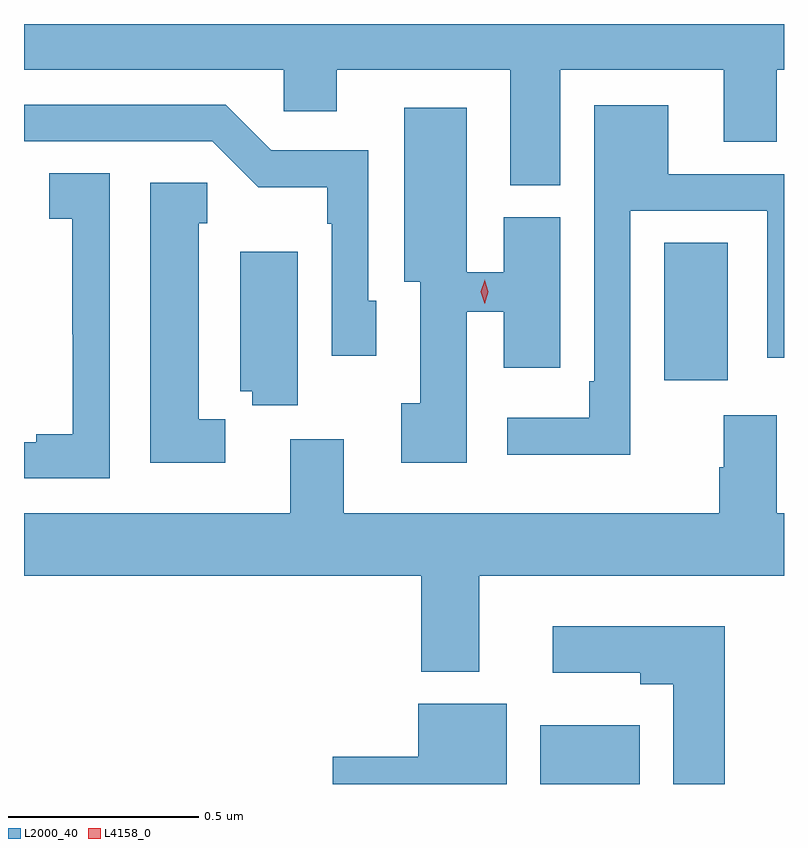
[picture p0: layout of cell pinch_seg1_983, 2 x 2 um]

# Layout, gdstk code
import gdstk
lib = gdstk.Library(unit=1e-6, precision=1e-09)
def R(c, l, rs):  # rectangles x0, y0, x1, y1
    for r in rs: c.add(gdstk.rectangle(r[:2], r[2:], *l))
def P(c, l, *ps):  # polygons
    for p in ps: c.add(gdstk.Polygon(p, *l))
L2000_40 = (2000, 40)
L4158_0 = (4158, 0)

pinch_seg1_983 = lib.new_cell('pinch_seg1_983')
R(pinch_seg1_983, L2000_40, [(143.699,515.22,143.962,515.374), (144.026,516.282,144.193,516.644)])
P(pinch_seg1_983, L2000_40, [(143.752,517.1),(144.182,517.1),(144.182,516.91),(144.322,516.91),(144.322,517.1),(144.341,517.1),(144.341,517.22),(142.341,517.22),(142.341,517.1),(143.025,517.1),(143.025,516.99),(143.164,516.99),(143.164,517.1),(143.621,517.1),(143.621,516.796),(143.752,516.796)],
  [(143.268,516.492),(143.247,516.492),(143.247,516.888),(142.992,516.888),(142.872,517.008),(142.341,517.008),(142.341,516.912),(142.836,516.912),(142.957,516.791),(143.139,516.791),(143.139,516.695),(143.151,516.695),(143.151,516.347),(143.268,516.347)],
  [(143.937,516.729),(144.297,516.729),(144.297,516.342),(144.341,516.342),(144.341,516.825),(144.037,516.825),(144.037,517.006),(143.841,517.006),(143.841,516.28),(143.829,516.28),(143.829,516.184),(143.613,516.184),(143.613,516.086),(143.937,516.086)],
  [(143.506,516.463),(143.603,516.463),(143.603,516.315),(143.752,516.315),(143.752,516.711),(143.603,516.711),(143.603,516.567),(143.506,516.567),(143.506,517),(143.342,517),(143.342,516.542),(143.384,516.542),(143.384,516.222),(143.334,516.222),(143.334,516.066),(143.506,516.066)],
  [(142.566,516.827),(142.407,516.827),(142.407,516.707),(142.468,516.707),(142.468,516.403),(142.469,516.403),(142.469,516.14),(142.373,516.14),(142.373,516.12),(142.341,516.12),(142.341,516.024),(142.566,516.024)],
  [(142.87,516.18),(142.801,516.18),(142.801,516.696),(142.823,516.696),(142.823,516.802),(142.673,516.802),(142.673,516.065),(142.87,516.065)],
  [(143.062,516.621),(142.91,516.621),(142.91,516.254),(142.942,516.254),(142.942,516.217),(143.062,516.217)],
  [(143.539,515.768),(144.341,515.768),(144.341,515.932),(144.322,515.932),(144.322,516.19),(144.182,516.19),(144.182,516.053),(144.17,516.053),(144.17,515.932),(143.182,515.932),(143.182,516.127),(143.042,516.127),(143.042,515.932),(142.341,515.932),(142.341,515.768),(143.387,515.768),(143.387,515.516),(143.539,515.516)],
  [(144.185,515.635),(143.733,515.635),(143.733,515.513),(143.963,515.513),(143.963,515.483),(144.05,515.483),(144.05,515.22),(144.185,515.22)],
  [(143.611,515.431),(143.378,515.431),(143.378,515.292),(143.154,515.292),(143.154,515.22),(143.611,515.22)])
P(pinch_seg1_983, L4158_0, [(143.553,516.484),(143.553,516.484),(143.543,516.515),(143.553,516.546),(143.553,516.547),(143.553,516.546),(143.563,516.515),(143.553,516.484)])

lib.write_gds('pinch_seg1_983.gds')
